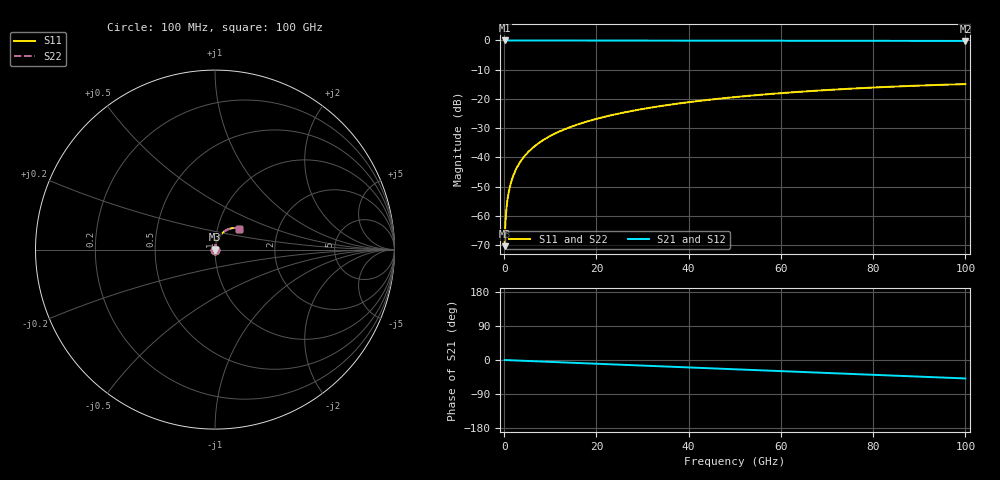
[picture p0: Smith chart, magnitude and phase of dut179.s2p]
! Touchstone file exported from HFSS 2026.1.0
!  File:  C:/ffzhzh/LocalFiles/Ansys_Project_Files/temp_train_TSV_179_1783507100_9504.aedt
!  Generated:  06:39:42 PM Jul  8, 2026
!  Design:  TSV
!  Project:  temp_train_TSV_179_1783507100_9504
! Variables:
!  h_bsmrdl = 2um
!  h_ox = 20um
!  h_rdl = 5um
!  h_sub = 92.73um
!  h_tmrdl = 5um
!  h_tsv = 92.73um
!  h_via = 3um
!  l_bsmrdl = 300um
!  l_sub = 420.9um
!  l_tmrdl = 200um
!  m_sub = 200um
!  pitch = 58.8um
!  r_tsv = 10.45um
!  s_tmrdl = 10um
!  w_bsmrdl = 18um
!  w_sub = 500um
!  w_tmrdl = 12um
!  x_tsv_center1 = 206um
!  x_tsv_center2 = 524um
!  x_tsv_center3 = 736um
!  x_tsv_center4 = 1054um
!  x_tsv_center5 = 1266um
!  x_tsv_center6 = 1584um
# GHz S MA R 50.000000
! Terminal data exported
! Port[1] = TSV1_1_T1
! Port[2] = TSV1_1_T2
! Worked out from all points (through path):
!   1000 points, 100 MHz to 100 GHz, reference 50 ohm
!   highest |S21| = 0.00 dB at 100 MHz (marker M1); lowest = -0.2 dB at 100 GHz (marker M2)
!   group delay of S21, straight-line fit = 1.35 ps
!   lowest |S11| = -70.4 dB at 100 MHz (marker M3), VSWR 1.00, Z = 50 + j0.0274 ohm
!   |S11| at or under -10 dB: start of sweep to end of sweep
!   |S22| runs from -70.4 to -14.9 dB; largest |S21 - S12| = 5.1e-15
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0.1  0.0003033 64.7  0.9999 -0.1  0.9999 -0.1  0.0003033 64.7
! Gamma 0 0 0 0
! Port Impedance 50 0 50 0
0.3  0.0008262 78.6  0.9998 -0.2  0.9998 -0.2  0.0008262 78.6
0.7  0.001831 81.8  0.9997 -0.4  0.9997 -0.4  0.001831 81.8
0.8  0.002073 82.2  0.9997 -0.4  0.9997 -0.4  0.002073 82.2
1  0.002551 82.7  0.9997 -0.5  0.9997 -0.5  0.002551 82.7
1.3  0.003263 83.3  0.9997 -0.7  0.9997 -0.7  0.003263 83.3
1.7  0.004207 83.8  0.9996 -0.9  0.9996 -0.9  0.004207 83.8
2.3  0.005614 84.2  0.9995 -1.2  0.9995 -1.2  0.005614 84.2
3  0.007244 84.4  0.9995 -1.5  0.9995 -1.5  0.007244 84.4
3.8  0.009095 84.4  0.9994 -1.9  0.9994 -1.9  0.009095 84.4
4.8  0.0114 84.3  0.9993 -2.4  0.9993 -2.4  0.0114 84.3
6  0.01415 84.0  0.9992 -3.0  0.9992 -3.0  0.01415 84.0
8.8  0.02053 83.1  0.9989 -4.4  0.9989 -4.4  0.02053 83.1
12.4  0.02866 81.7  0.9985 -6.1  0.9985 -6.1  0.02866 81.7
16.8  0.0385 79.8  0.998 -8.3  0.998 -8.3  0.0385 79.8
24.2  0.05476 76.5  0.997 -11.9  0.997 -11.9  0.05476 76.5
33.4  0.07438 72.2  0.9955 -16.5  0.9955 -16.5  0.07438 72.2
41.2  0.09034 68.5  0.994 -20.3  0.994 -20.3  0.09034 68.6
50.1  0.1076 64.3  0.9921 -24.6  0.9921 -24.6  0.1076 64.3
66.7  0.1368 56.4  0.9882 -32.6  0.9882 -32.6  0.1368 56.4
83.4  0.1611 48.5  0.9842 -40.7  0.9842 -40.7  0.1611 48.5
100  0.1793 40.6  0.9806 -48.7  0.9806 -48.7  0.1793 40.7
